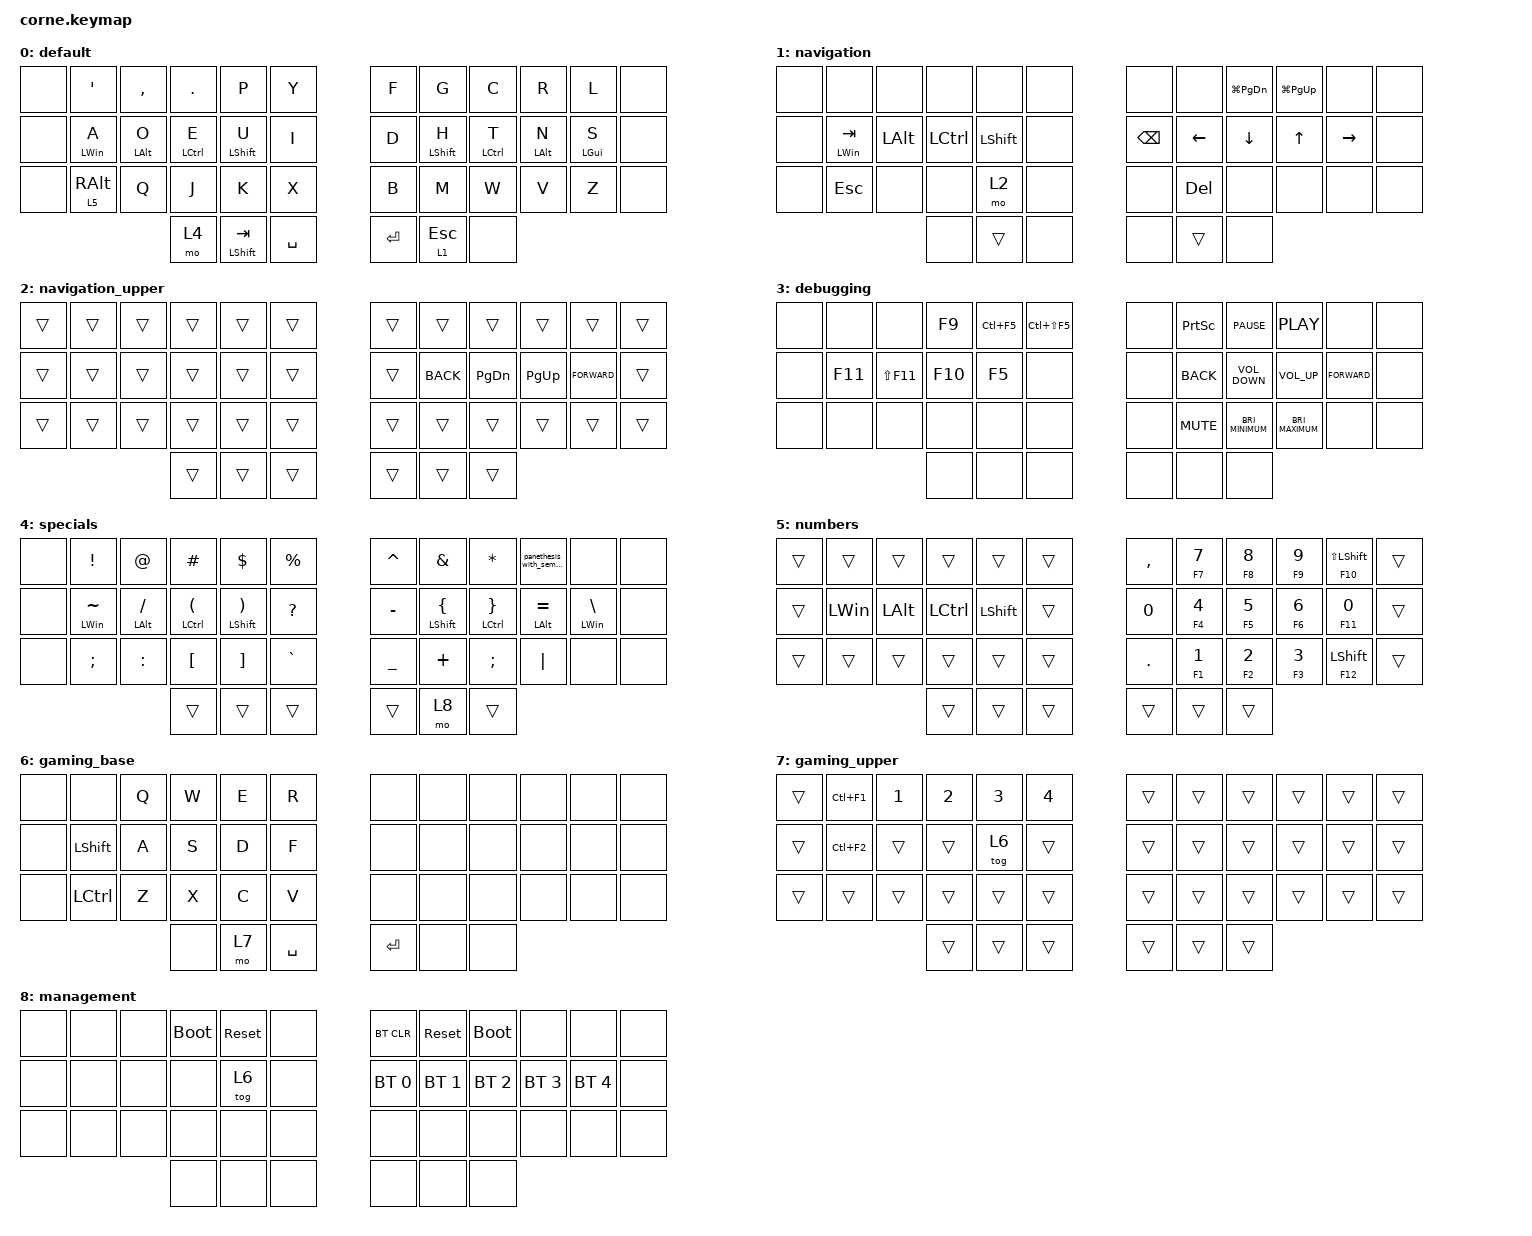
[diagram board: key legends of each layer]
/*
 * Copyright (c) 2020 The ZMK Contributors
 *
 * SPDX-License-Identifier: MIT
 */

#include <behaviors.dtsi>
#include <dt-bindings/zmk/bt.h>
#include <dt-bindings/zmk/keys.h>

&mt { flavor = "tap-preferred"; };

/ {
    macros {
        panethesis_with_semicolon: panethesis_with_semicolon {
            compatible = "zmk,behavior-macro";
            label = "PANETHESIS_WITH_SEMICOLON";
            #binding-cells = <0>;
            bindings = <&kp LPAR &kp RPAR &kp SEMI>;
        };
    };

    combos {
        compatible = "zmk,combos";

        debugging {
            bindings = <&mo 3>;
            key-positions = <37 40>;
            timeout-ms = <200>;
        };

        management {
            bindings = <&mo 8>;
            key-positions = <37 40 25 34>;
        };
    };

    behaviors {
        tap_time: tap_time {
            compatible = "zmk,behavior-hold-tap";
            label = "TAP_TIME";
            bindings = <&kp>, <&kp>;

            #binding-cells = <2>;
            tapping-term-ms = <200>;
        };

        layer_tap_pref_hold: layer_tap_pref_hold {
            compatible = "zmk,behavior-hold-tap";
            label = "LAYER_TAP_PREF_HOLD";
            bindings = <&mo>, <&kp>;

            #binding-cells = <2>;
            tapping-term-ms = <200>;
        };

        tap_hold_pref_hold: tap_hold_pref_hold {
            compatible = "zmk,behavior-hold-tap";
            label = "TAP_HOLD_PREF_HOLD";
            bindings = <&kp>, <&kp>;

            #binding-cells = <2>;
            tapping-term-ms = <200>;
            flavor = "hold-preferred";
        };
    };

    keymap {
        compatible = "zmk,keymap";

        default {
            // -----------------------------------------------------------------------------------------
            // |  TAB |  Q  |  W  |  E  |  R  |  T  |   |  Y  |  U   |  I  |  O  |  P  | BKSP |
            // | CTRL |  A  |  S  |  D  |  F  |  G  |   |  H  |  J   |  K  |  L  |  ;  |  '   |
            // | SHFT |  Z  |  X  |  C  |  V  |  B  |   |  N  |  M   |  ,  |  .  |  /  | ESC  |
            //                    | GUI | LWR | SPC |   | ENT | RSE  | ALT |

            bindings = <
&none  &kp SINGLE_QUOTE                  &kp COMMA       &kp PERIOD   &kp P                               &kp Y        &kp F    &kp G                       &kp C        &kp R       &kp L           &none
&none  &mt LWIN A                        &mt LEFT_ALT O  &mt LCTRL E  &mt LEFT_SHIFT U                    &kp I        &kp D    &mt LSHFT H                 &mt LCTRL T  &mt LALT N  &mt LEFT_GUI S  &none
&none  &layer_tap_pref_hold 5 RIGHT_ALT  &kp Q           &kp J        &kp K                               &kp X        &kp B    &kp M                       &kp W        &kp V       &kp Z           &none
                                                         &mo 4        &tap_hold_pref_hold LEFT_SHIFT TAB  &kp SPACE    &kp RET  &layer_tap_pref_hold 1 ESC  &none
            >;
        };

        navigation {
            // -----------------------------------------------------------------------------------------
            // |  TAB |  1  |  2  |  3  |  4  |  5  |   |  6  |  7  |  8  |  9  |  0  | BKSP |
            // | BTCLR| BT1 | BT2 | BT3 | BT4 | BT5 |   | LFT | DWN |  UP | RGT |     |      |
            // | SHFT |     |     |     |     |     |   |     |     |     |     |     |      |
            //                    | GUI |     | SPC |   | ENT |     | ALT |

            bindings = <
&none  &none             &none         &none             &none       &none    &none          &none       &kp LG(PAGE_DOWN)  &kp LG(PAGE_UP)  &none      &none
&none  &mt LEFT_WIN TAB  &kp LEFT_ALT  &kp LEFT_CONTROL  &kp LSHIFT  &none    &kp BACKSPACE  &kp LEFT    &kp DOWN           &kp UP_ARROW     &kp RIGHT  &none
&none  &kp ESC           &none         &none             &mo 2       &none    &none          &kp DELETE  &none              &none            &none      &none
                                       &none             &trans      &none    &none          &trans      &none
            >;
        };

        navigation_upper {
            bindings = <
&trans  &trans  &trans  &trans  &trans  &trans    &trans  &trans      &trans         &trans     &trans         &trans
&trans  &trans  &trans  &trans  &trans  &trans    &trans  &kp K_BACK  &kp PAGE_DOWN  &kp PG_UP  &kp K_FORWARD  &trans
&trans  &trans  &trans  &trans  &trans  &trans    &trans  &trans      &trans         &trans     &trans         &trans
                        &trans  &trans  &trans    &trans  &trans      &trans
            >;
        };

        debugging {
            bindings = <
&none  &none    &none        &kp F9   &kp LC(F5)  &kp LC(LS(F5))    &none  &kp PRINTSCREEN  &kp C_PAUSE               &kp C_PLAY                &none          &none
&none  &kp F11  &kp LS(F11)  &kp F10  &kp F5      &none             &none  &kp K_BACK       &kp C_VOLUME_DOWN         &kp C_VOLUME_UP           &kp K_FORWARD  &none
&none  &none    &none        &none    &none       &none             &none  &kp K_MUTE       &kp C_BRIGHTNESS_MINIMUM  &kp C_BRIGHTNESS_MAXIMUM  &none          &none
                             &none    &none       &none             &none  &none            &none
            >;
        };

        specials {
            // -----------------------------------------------------------------------------------------
            // |  TAB |  !  |  @  |  #  |  $  |  %  |   |  ^  |  &  |  *  |  (  |  )  | BKSP |
            // | CTRL |     |     |     |     |     |   |  -  |  =  |  [  |  ]  |  \  |  `   |
            // | SHFT |     |     |     |     |     |   |  _  |  +  |  {  |  }  | "|" |  ~   |
            //                    | GUI |     | SPC |   | ENT |     | ALT |

            bindings = <
&none  &kp EXCL            &kp AT              &kp HASH                    &kp DLLR                      &kp PRCNT       &kp CARET  &kp AMPS                   &kp STAR               &panethesis_with_semicolon  &none                   &none
&none  &mt LEFT_WIN TILDE  &mt LEFT_ALT SLASH  &mt LCTRL LEFT_PARENTHESIS  &mt LSHIFT RIGHT_PARENTHESIS  &kp QUESTION    &kp MINUS  &mt LEFT_SHIFT LEFT_BRACE  &mt LCTRL RIGHT_BRACE  &mt LEFT_ALT EQUAL          &mt LEFT_WIN BACKSLASH  &none
&none  &kp SEMICOLON       &kp COLON           &kp LEFT_BRACKET            &kp RIGHT_BRACKET             &kp GRAVE       &kp UNDER  &kp PLUS                   &kp SEMI               &kp PIPE                    &none                   &none
                                               &trans                      &trans                        &trans          &trans     &mo 8                      &trans
            >;
        };

        numbers {
            bindings = <
&trans  &trans    &trans        &trans            &trans      &trans    &kp COMMA   &mt F7 N7              &mt F8 N8  &mt F9 N9  &mt F10 LS(LSHIFT)  &trans
&trans  &kp LWIN  &kp LEFT_ALT  &kp LEFT_CONTROL  &kp LSHIFT  &trans    &kp N0      &mt F4 N4              &mt F5 N5  &mt F6 N6  &mt F11 N0          &trans
&trans  &trans    &trans        &trans            &trans      &trans    &kp PERIOD  &tap_time F1 NUMBER_1  &mt F2 N2  &mt F3 N3  &mt F12 LSHIFT      &trans
                                &trans            &trans      &trans    &trans      &trans                 &trans
            >;
        };

        gaming_base {
            bindings = <
&none  &none      &kp Q  &kp W  &kp E  &kp R        &none      &none  &none  &none  &none  &none
&none  &kp LSHFT  &kp A  &kp S  &kp D  &kp F        &none      &none  &none  &none  &none  &none
&none  &kp LCTRL  &kp Z  &kp X  &kp C  &kp V        &none      &none  &none  &none  &none  &none
                         &none  &mo 7  &kp SPACE    &kp ENTER  &none  &none
            >;
        };

        gaming_upper {
            bindings = <
&trans  &kp LC(F1)  &kp NUMBER_1  &kp N2  &kp NUMBER_3  &kp N4    &trans  &trans  &trans  &trans  &trans  &trans
&trans  &kp LC(F2)  &trans        &trans  &tog 6        &trans    &trans  &trans  &trans  &trans  &trans  &trans
&trans  &trans      &trans        &trans  &trans        &trans    &trans  &trans  &trans  &trans  &trans  &trans
                                  &trans  &trans        &trans    &trans  &trans  &trans
            >;
        };

        management {
            bindings = <
&none  &none  &none  &bootloader  &sys_reset  &none    &bt BT_CLR    &sys_reset    &bootloader   &none         &none         &none
&none  &none  &none  &none        &tog 6      &none    &bt BT_SEL 0  &bt BT_SEL 1  &bt BT_SEL 2  &bt BT_SEL 3  &bt BT_SEL 4  &none
&none  &none  &none  &none        &none       &none    &none         &none         &none         &none         &none         &none
                     &none        &none       &none    &none         &none         &none
            >;
        };
    };
};
